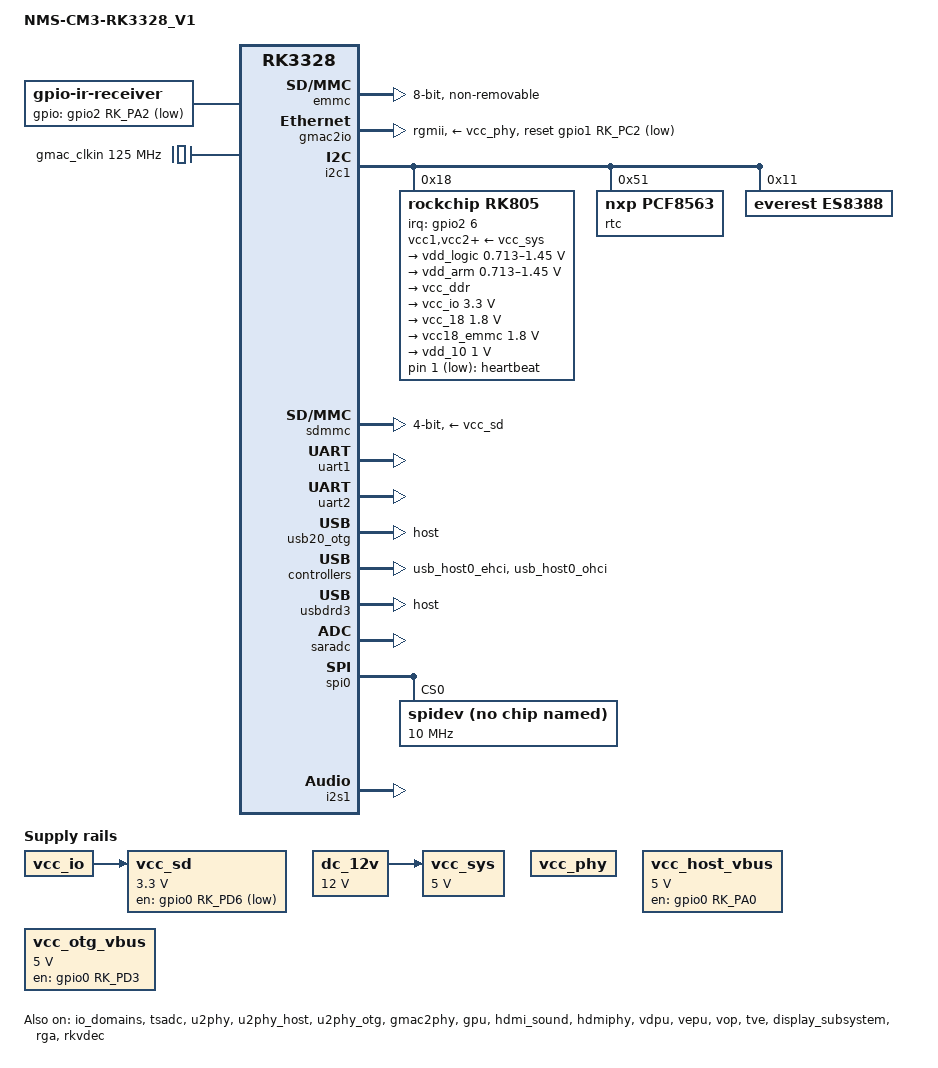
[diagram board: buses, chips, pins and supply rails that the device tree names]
// SPDX-License-Identifier: (GPL-2.0+ OR MIT)
/*
 * Copyright (c) 2023 Inmys
 */

/dts-v1/;
#include "rk3328.dtsi"

/ {
	model = "NMS-CM3-RK3328_V1";
	compatible = "inmys,rk3328-cm3", "rockchip,rk3328";

	chosen {
		stdout-path = "serial2:115200n8";
	};
	leds {
		compatible = "gpio-leds";
		heartbeat {
			label = "heartbeat";
			gpios = <&rk805 1 GPIO_ACTIVE_LOW>;
			linux,default-trigger = "heartbeat";
		};
	};

	ir-receiver {
		compatible = "gpio-ir-receiver";
		gpios = <&gpio2 RK_PA2 GPIO_ACTIVE_LOW>;
		pinctrl-0 = <&ir_int>;
		pinctrl-names = "default";
	};

	/* for gmac*/
	gmac_clkin: external-gmac-clock {
		compatible = "fixed-clock";
		clock-frequency = <125000000>;
		clock-output-names = "gmac_clkin";
		#clock-cells = <0>;
	};

	dc_12v: dc-12v {
		compatible = "regulator-fixed";
		regulator-name = "dc_12v";
		regulator-always-on;
		regulator-boot-on;
		regulator-min-microvolt = <12000000>;
		regulator-max-microvolt = <12000000>;
	};

	vcc_sd: sdmmc-regulator {
		compatible = "regulator-fixed";
		gpio = <&gpio0 RK_PD6 GPIO_ACTIVE_LOW>;
		pinctrl-names = "default";
		pinctrl-0 = <&sdmmc0m1_pin>;
		regulator-name = "vcc_sd";
		regulator-min-microvolt = <3300000>;
		regulator-max-microvolt = <3300000>;
		vin-supply = <&vcc_io>;
	};

	vcc_sys: vcc-sys {
		compatible = "regulator-fixed";
		regulator-name = "vcc_sys";
		regulator-always-on;
		regulator-boot-on;
		regulator-min-microvolt = <5000000>;
		regulator-max-microvolt = <5000000>;
		vin-supply = <&dc_12v>;
	};

	vcc_phy: vcc-phy-regulator {
		compatible = "regulator-fixed";
		regulator-name = "vcc_phy";
		regulator-always-on;
		regulator-boot-on;
	};

	vcc_host_vbus: host-vbus-regulator {
		compatible = "regulator-fixed";
		gpio = <&gpio0 RK_PA0 GPIO_ACTIVE_HIGH>;
		pinctrl-names = "default";
		pinctrl-0 = <&host_vbus_drv>;
		regulator-name = "vcc_host_vbus";
		regulator-min-microvolt = <5000000>;
		regulator-max-microvolt = <5000000>;
		enable-active-high;
	};

	vcc_otg_vbus: otg-vbus-regulator {
		compatible = "regulator-fixed";
		gpio = <&gpio0 RK_PD3 GPIO_ACTIVE_HIGH>;
		pinctrl-names = "default";
		pinctrl-0 = <&otg_vbus_drv>;
		regulator-name = "vcc_otg_vbus";
		regulator-min-microvolt = <5000000>;
		regulator-max-microvolt = <5000000>;
		enable-active-high;
	};

	es8388-sound {                                                                                                                                                                                      
		compatible = "simple-audio-card";                                                                                                                                                           
		pinctrl-names = "default";                                                                                                                                                                  
		simple-audio-card,name = "rockchip,es8388-codec";                                                                                                                                           
		simple-audio-card,format = "i2s";                                                                                                                                                           
		simple-audio-card,mclk-fs = <256>;                                                                                                                                                          
		simple-audio-card,widgets =                                                                                                                                                                 
		        "Microphone", "Mic Jack",                                                                                                                                                           
		        "Headphone", "Headphones";                                                                                                                                                          
		simple-audio-card,routing =                                                                                                                                                                 
		        "LINPUT1", "Mic Jack",                                                                                                                                                              
		        "Headphone Amp INL", "LOUT2",                                                                                                                                                       
		        "Headphone Amp INR", "ROUT2",                                                                                                                                                       
		        "Headphones", "Headphone Amp OUTL",                                                                                                                                                 
		        "Headphones", "Headphone Amp OUTR";                                                                                                                                                 
		simple-audio-card,pin-switches = "Headphones";                                                                                                                                              
		                                                                                                                                                                                            
		simple-audio-card,codec {                                                                                                                                                                   
		        sound-dai = <&es8388>;                                                                                                                                                              
		};                                                                                                                                                                                          
		                                                                                                                                                                                            
		simple-audio-card,cpu {                                                                                                                                                                     
		        sound-dai = <&i2s1>;                                                                                                                                                                
		};                                                                                                                                                                                          
	};

};

&cpu0 {
	cpu-supply = <&vdd_arm>;
};

&emmc {
	bus-width = <8>;
	cap-mmc-highspeed;
	non-removable;
	pinctrl-names = "default";
	pinctrl-0 = <&emmc_clk &emmc_cmd &emmc_bus8>;
	status = "okay";

	mmc-hs200-1_8v;
	supports-emmc;
	disable-wp;
	num-slots = <1>;
	rockchip,default-sample-phase = <90>;
};

&gmac2io {
        assigned-clocks = <&cru SCLK_MAC2IO>, <&cru SCLK_MAC2IO_EXT>;
        assigned-clock-parents = <&gmac_clkin>, <&gmac_clkin>;
        clock_in_out = "input";
        phy-supply = <&vcc_phy>;
        phy-mode = "rgmii";
        pinctrl-names = "default";
        pinctrl-0 = <&rgmiim1_pins>;
        snps,aal;
        snps,reset-gpio = <&gpio1 RK_PC2 GPIO_ACTIVE_LOW>;
        snps,reset-active-low;
        snps,reset-delays-us = <0 10000 50000>;
        snps,rxpbl = <0x4>;
        snps,txpbl = <0x4>;
        tx_delay = <0x24>;
        rx_delay = <0x18>;
        status = "okay";
};


&io_domains {
	status = "okay";
	vccio1-supply = <&vcc_io>;
	vccio2-supply = <&vcc18_emmc>;
	vccio3-supply = <&vcc_io>;
	vccio4-supply = <&vcc_io>; // GPIO_VDD2 ???
	vccio5-supply = <&vcc_io>;
	vccio6-supply = <&vcc_io>;
	pmuio-supply = <&vcc_io>;
};

&i2c1 {
	status = "okay";

	rk805: pmic@18 {
		compatible = "rockchip,rk805";
		reg = <0x18>;
		interrupt-parent = <&gpio2>;
		interrupts = <6 IRQ_TYPE_LEVEL_LOW>;
		#clock-cells = <1>;
		clock-output-names = "xin32k", "rk805-clkout2";
		gpio-controller;
		#gpio-cells = <2>;
		pinctrl-names = "default";
		pinctrl-0 = <&pmic_int_l>;
		rockchip,system-power-controller;
		wakeup-source;

		vcc1-supply = <&vcc_sys>;
		vcc2-supply = <&vcc_sys>;
		vcc3-supply = <&vcc_sys>;
		vcc4-supply = <&vcc_sys>;
		vcc5-supply = <&vcc_sys>;
		vcc6-supply = <&vcc_sys>;

		regulators {
			vdd_logic: DCDC_REG1 {
				regulator-name = "vdd_logic";
				regulator-min-microvolt = <712500>;
				regulator-max-microvolt = <1450000>;
				regulator-ramp-delay = <12500>;
				regulator-always-on;
				regulator-boot-on;
				regulator-state-mem {
					regulator-on-in-suspend;
					regulator-suspend-microvolt = <1000000>;
				};
			};

			vdd_arm: DCDC_REG2 {
				regulator-name = "vdd_arm";
				regulator-min-microvolt = <712500>;
				regulator-max-microvolt = <1450000>;
				regulator-ramp-delay = <12500>;
				regulator-always-on;
				regulator-boot-on;
				regulator-state-mem {
					regulator-on-in-suspend;
					regulator-suspend-microvolt = <950000>;
				};
			};

			vcc_ddr: DCDC_REG3 {
				regulator-name = "vcc_ddr";
				regulator-always-on;
				regulator-boot-on;
				regulator-state-mem {
					regulator-on-in-suspend;
				};
			};

			vcc_io: DCDC_REG4 {
				regulator-name = "vcc_io";
				regulator-min-microvolt = <3300000>;
				regulator-max-microvolt = <3300000>;
				regulator-always-on;
				regulator-boot-on;
				regulator-state-mem {
					regulator-on-in-suspend;
					regulator-suspend-microvolt = <3300000>;
				};
			};

			vcc_18: LDO_REG1 {
				regulator-name = "vcc_18";
				regulator-min-microvolt = <1800000>;
				regulator-max-microvolt = <1800000>;
				regulator-always-on;
				regulator-boot-on;
				regulator-state-mem {
					regulator-on-in-suspend;
					regulator-suspend-microvolt = <1800000>;
				};
			};

			vcc18_emmc: LDO_REG2 {
				regulator-name = "vcc18_emmc";
				regulator-min-microvolt = <1800000>;
				regulator-max-microvolt = <1800000>;
				regulator-always-on;
				regulator-boot-on;
				regulator-state-mem {
					regulator-on-in-suspend;
					regulator-suspend-microvolt = <1800000>;
				};
			};

			vdd_10: LDO_REG3 {
				regulator-name = "vdd_10";
				regulator-min-microvolt = <1000000>;
				regulator-max-microvolt = <1000000>;
				regulator-always-on;
				regulator-boot-on;
				regulator-state-mem {
					regulator-on-in-suspend;
					regulator-suspend-microvolt = <1000000>;
				};
			};
		};
	};
	rtc: rtc8564@51 {
                compatible = "nxp,pcf8563";
                reg = <0x51>;
        };
        es8388: es8388@11 {
                compatible = "everest,es8388";
                reg = <0x11>;
                #sound-dai-cells = <0>;
        };
};


&pinctrl {
	pmic {
		pmic_int_l: pmic-int-l {
			rockchip,pins = <2 RK_PA6 RK_FUNC_GPIO &pcfg_pull_up>;
		};
	};

	usb2 {
		usb20_host_drv: usb20-host-drv {
			rockchip,pins = <1 RK_PD2 RK_FUNC_GPIO &pcfg_pull_none>;
		};
	};
	usb {
		host_vbus_drv: host-vbus-drv {
			rockchip,pins =
				<0 RK_PA0 RK_FUNC_GPIO &pcfg_pull_none>;
		};

		otg_vbus_drv: otg-vbus-drv {
			rockchip,pins =
				<0 RK_PD3 RK_FUNC_GPIO &pcfg_pull_none>;
		};
	};

};

&sdmmc {
	bus-width = <4>;
	cap-mmc-highspeed;
	cap-sd-highspeed;
	disable-wp;
	max-frequency = <150000000>;
	pinctrl-names = "default";
	pinctrl-0 = <&sdmmc0_clk &sdmmc0_cmd &sdmmc0_dectn &sdmmc0_bus4>;
	vmmc-supply = <&vcc_sd>;
	status = "okay";

	supports-sd;
	num-slots = <1>;
	broken-cd;
};

&tsadc {
	status = "okay";
};

&u2phy {
	status = "okay";
};

&u2phy_host {
	status = "okay";
};

&u2phy_otg {
	vbus-supply = <&vcc_otg_vbus>;
	status = "okay";
};

&uart0 {
	status = "disabled";
};

&uart1 {
	status = "okay";
};

&uart2 {
	status = "okay";
};

&usb20_otg {
	status = "okay";
	dr_mode = "host";
};

&usb_host0_ehci {
	status = "okay";
};

&usb_host0_ohci {
	status = "okay";
};


#if 0
&u3phy {
	vbus-supply = <&vcc_host_vbus>;
	status = "okay";
	dr_mode = "host";
};

&u3phy_utmi {
	status = "okay";
};

&u3phy_pipe {
	status = "okay";
};
#endif


&usbdrd3 {
	status = "okay";
	dr_mode = "host";

};


&gmac2phy {
	phy-supply = <&vcc_phy>;
	clock_in_out = "output";
	assigned-clocks = <&cru SCLK_MAC2PHY_SRC>;
	assigned-clock-rate = <50000000>;
	assigned-clocks = <&cru SCLK_MAC2PHY>;
	assigned-clock-parents = <&cru SCLK_MAC2PHY_SRC>;
	status = "okay";
};

&gpu {
	status = "okay";
	mali-supply = <&vdd_logic>;
};

&hdmi {
	#sound-dai-cells = <0>;
	ddc-i2c-scl-high-time-ns = <9625>;
	ddc-i2c-scl-low-time-ns = <10000>;
	status = "disabled";
};

&hdmi_sound {
        status = "okay";
};


&hdmiphy {
#if 0
	rockchip,phy-table =
		<165000000 0x07 0x0a 0x0a 0x0a 0x00 0x00 0x08
			   0x08 0x08 0x00 0xac 0xcc 0xcc 0xcc>,
		<340000000 0x0b 0x0d 0x0d 0x0d 0x07 0x15 0x08
			   0x08 0x08 0x3f 0xac 0xcc 0xcd 0xdd>,
		<594000000 0x10 0x1a 0x1a 0x1a 0x07 0x15 0x08
			   0x08 0x08 0x00 0xac 0xcc 0xcc 0xcc>;
#endif
	status = "okay";
};

&vdpu {
	status = "okay";
};

&vpu_mmu {
	status = "okay";
};

&vepu {
	status = "okay";
};

&vepu_mmu {
	status = "okay";
};


&vop {
	status = "okay";
};

&vop_mmu {
	status = "okay";
};

&saradc {
	status = "okay";
};

&spi0 {
	status = "okay";
	spidev@0{
		compatible = "rohm,dh2228fv";
		reg = <0>;
		spi-max-frequency = <10000000>;
	};
};

 &pinctrl {
	ir {
		ir_int: ir-int {
			rockchip,pins = <2 RK_PA2 RK_FUNC_GPIO &pcfg_pull_none>;
		};
	};
};

&i2s1 {
        status = "okay";
};

/{




};


/{

	reserved_memory: reserved-memory {
		#address-cells = <1>;
		#size-cells = <1>;
		ranges;

		drm_logo: drm-logo@0 {
			compatible = "rockchip,drm-logo";
			reg = <0x0 0x0>;
		};

		secure_memory: secure-memory@80000000 {
			compatible = "rockchip,secure-memory";
			reg = <0x80000000 0x0>;
		};

		ramoops: ramoops@62e00000 {
			compatible = "ramoops";
			reg = <0x62e00000 0xf0000>;
			record-size = <0x20000>;
			console-size = <0x80000>;
			ftrace-size = <0x00000>;
			pmsg-size = <0x50000>;
		};
	};


};


&tve{
	status = "okay";
};

&display_subsystem {
	logo-memory-region = <&drm_logo>;
	secure-memory-region = <&secure_memory>;
	status = "okay";

	route {
#if 0
		route_hdmi: route-hdmi {
			status = "disabled";
			logo,uboot = "logo.bmp";
			logo,kernel = "logo_kernel.bmp";
			logo,mode = "center";
			charge_logo,mode = "center";
			connect = <&vop_out_hdmi>;
		};
#endif
		route_tve: route-tve {
			status = "okay";
			logo,uboot = "logo.bmp";
			logo,kernel = "logo_kernel.bmp";
			logo,mode = "center";
			charge_logo,mode = "center";
			connect = <&vop_out_tve>;
		};
	};

};

&rga {
	status = "okay";
};

&rkvdec {
	status = "okay";
	vcodec-supply = <&vdd_logic>;
};

&rkvdec_mmu {
	status = "okay";
};

